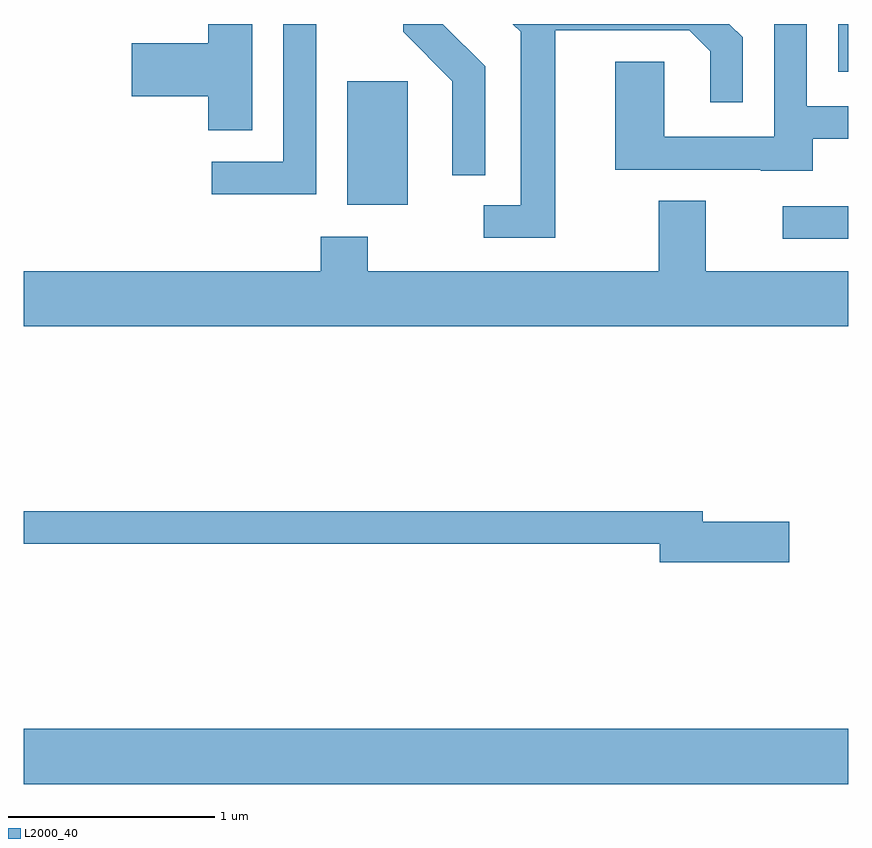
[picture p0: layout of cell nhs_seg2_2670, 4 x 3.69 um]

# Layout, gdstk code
import gdstk
lib = gdstk.Library(unit=1e-6, precision=1e-09)
def R(c, l, rs):  # rectangles x0, y0, x1, y1
    for r in rs: c.add(gdstk.rectangle(r[:2], r[2:], *l))
def P(c, l, *ps):  # polygons
    for p in ps: c.add(gdstk.Polygon(p, *l))
L2000_40 = (2000, 40)

nhs_seg2_2670 = lib.new_cell('nhs_seg2_2670')
R(nhs_seg2_2670, L2000_40, [(263.611,1026.116,267.611,1026.384), (267.293,1028.761,267.611,1028.919), (265.181,1028.926,265.474,1029.524), (267.561,1029.571,267.611,1029.802)])
P(nhs_seg2_2670, L2000_40, [(267.439,1029.246),(267.611,1029.246),(267.611,1029.404),(267.409,1029.404),(267.409,1029.802),(267.251,1029.802),(267.251,1029.254),(266.719,1029.254),(266.719,1029.619),(266.481,1029.619),(266.481,1029.096),(267.185,1029.096),(267.185,1029.091),(267.439,1029.091)],
  [(266.189,1029.771),(266.839,1029.771),(266.941,1029.669),(266.941,1029.423),(267.099,1029.423),(267.099,1029.737),(267.034,1029.802),(265.983,1029.802),(266.021,1029.764),(266.021,1028.924),(265.843,1028.924),(265.843,1028.766),(266.189,1028.766)],
  [(265.029,1029.802),(264.871,1029.802),(264.871,1029.134),(264.523,1029.134),(264.523,1028.976),(265.029,1028.976)],
  [(265.849,1029.597),(265.644,1029.802),(265.451,1029.802),(265.451,1029.764),(265.691,1029.524),(265.691,1029.068),(265.849,1029.068)],
  [(264.719,1029.802),(264.506,1029.802),(264.506,1029.709),(264.136,1029.709),(264.136,1029.451),(264.506,1029.451),(264.506,1029.286),(264.719,1029.286)],
  [(267.611,1028.604),(266.919,1028.604),(266.919,1028.944),(266.691,1028.944),(266.691,1028.604),(265.279,1028.604),(265.279,1028.769),(265.051,1028.769),(265.051,1028.604),(263.611,1028.604),(263.611,1028.336),(267.611,1028.336)],
  [(267.324,1027.389),(266.904,1027.389),(266.904,1027.439),(263.611,1027.439),(263.611,1027.281),(266.696,1027.281),(266.696,1027.191),(267.324,1027.191)])

lib.write_gds('nhs_seg2_2670.gds')
